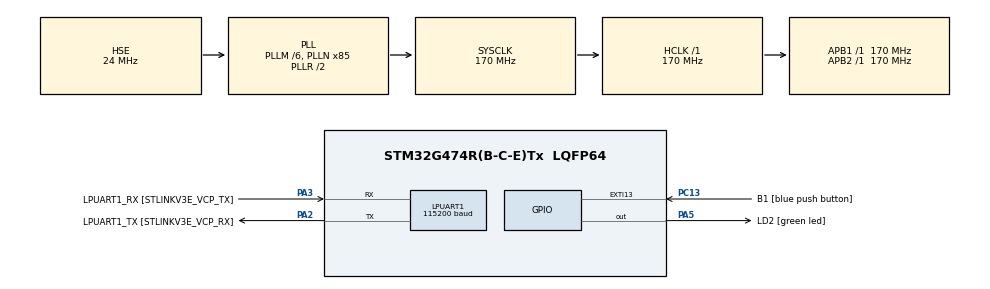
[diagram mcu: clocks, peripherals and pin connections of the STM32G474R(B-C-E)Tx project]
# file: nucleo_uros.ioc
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Dma.LPUART1_RX.0.Direction=DMA_PERIPH_TO_MEMORY
Dma.LPUART1_RX.0.EventEnable=DISABLE
Dma.LPUART1_RX.0.Instance=DMA1_Channel1
Dma.LPUART1_RX.0.MemDataAlignment=DMA_MDATAALIGN_BYTE
Dma.LPUART1_RX.0.MemInc=DMA_MINC_ENABLE
Dma.LPUART1_RX.0.Mode=DMA_CIRCULAR
Dma.LPUART1_RX.0.PeriphDataAlignment=DMA_PDATAALIGN_BYTE
Dma.LPUART1_RX.0.PeriphInc=DMA_PINC_DISABLE
Dma.LPUART1_RX.0.Polarity=HAL_DMAMUX_REQ_GEN_RISING
Dma.LPUART1_RX.0.Priority=DMA_PRIORITY_VERY_HIGH
Dma.LPUART1_RX.0.RequestNumber=1
Dma.LPUART1_RX.0.SignalID=NONE
Dma.LPUART1_RX.0.SyncEnable=DISABLE
Dma.LPUART1_RX.0.SyncPolarity=HAL_DMAMUX_SYNC_NO_EVENT
Dma.LPUART1_RX.0.SyncRequestNumber=1
Dma.LPUART1_RX.0.SyncSignalID=NONE
Dma.LPUART1_TX.1.Direction=DMA_MEMORY_TO_PERIPH
Dma.LPUART1_TX.1.EventEnable=DISABLE
Dma.LPUART1_TX.1.Instance=DMA1_Channel2
Dma.LPUART1_TX.1.MemDataAlignment=DMA_MDATAALIGN_BYTE
Dma.LPUART1_TX.1.MemInc=DMA_MINC_ENABLE
Dma.LPUART1_TX.1.Mode=DMA_NORMAL
Dma.LPUART1_TX.1.PeriphDataAlignment=DMA_PDATAALIGN_BYTE
Dma.LPUART1_TX.1.PeriphInc=DMA_PINC_DISABLE
Dma.LPUART1_TX.1.Polarity=HAL_DMAMUX_REQ_GEN_RISING
Dma.LPUART1_TX.1.Priority=DMA_PRIORITY_VERY_HIGH
Dma.LPUART1_TX.1.RequestNumber=1
Dma.LPUART1_TX.1.SignalID=NONE
Dma.LPUART1_TX.1.SyncEnable=DISABLE
Dma.LPUART1_TX.1.SyncPolarity=HAL_DMAMUX_SYNC_NO_EVENT
Dma.LPUART1_TX.1.SyncRequestNumber=1
Dma.LPUART1_TX.1.SyncSignalID=NONE
Dma.Request0=LPUART1_RX
Dma.Request1=LPUART1_TX
FREERTOS.Tasks01=defaultTask,24,3000,StartDefaultTask,As weak,NULL,Static,defaultTaskBuffer,defaultTaskControlBlock
FREERTOS.configENABLE_FPU=1
LPUART1.BaudRate=115200
Mcu.Family=STM32G4
Mcu.Name=STM32G474R(B-C-E)Tx
Mcu.Package=LQFP64
NVIC.DMA1_Channel1_IRQn=true\:5\:0\:false\:false\:true\:true\:false\:true\:true
NVIC.DMA1_Channel2_IRQn=true\:5\:0\:false\:false\:true\:true\:false\:true\:true
NVIC.EXTI15_10_IRQn=true\:5\:0\:false\:false\:true\:true\:true\:true\:true
NVIC.LPUART1_IRQn=true\:5\:0\:false\:false\:true\:true\:true\:true\:true
NVIC.PriorityGroup=NVIC_PRIORITYGROUP_4
NVIC.TIM1_UP_TIM16_IRQn=true\:15\:0\:false\:false\:true\:false\:false\:true\:true
NVIC.TimeBase=TIM1_UP_TIM16_IRQn
NVIC.TimeBaseIP=TIM1
PA13.GPIO_Label=T_SWDIO
PA13.Signal=SYS_JTMS-SWDIO
PA14.GPIO_Label=T_SWCLK
PA14.Signal=SYS_JTCK-SWCLK
PA2.GPIO_Label=LPUART1_TX [STLINKV3E_VCP_RX]
PA2.Mode=Asynchronous
PA2.Signal=LPUART1_TX
PA3.GPIO_Label=LPUART1_RX [STLINKV3E_VCP_TX]
PA3.Mode=Asynchronous
PA3.Signal=LPUART1_RX
PA5.GPIO_Label=LD2 [green led]
PA5.Signal=GPIO_Output
PB3.GPIO_Label=T_SWO
PB3.Signal=SYS_JTDO-SWO
PC13.GPIO_Label=B1 [blue push button]
PC13.Signal=GPXTI13
PC14-OSC32_IN.GPIO_Label=RCC_OSC32_IN
PC14-OSC32_IN.Signal=RCC_OSC32_IN
PC15-OSC32_OUT.GPIO_Label=RCC_OSC32_OUT
PC15-OSC32_OUT.Signal=RCC_OSC32_OUT
PF0-OSC_IN.GPIO_Label=RCC_OSC_IN
PF0-OSC_IN.Mode=HSE-External-Oscillator
PF0-OSC_IN.Signal=RCC_OSC_IN
PF1-OSC_OUT.GPIO_Label=RCC_OSC_OUT
PF1-OSC_OUT.Mode=HSE-External-Oscillator
PF1-OSC_OUT.Signal=RCC_OSC_OUT
ProjectManager.HeapSize=0x200
ProjectManager.StackSize=0x400
ProjectManager.TargetToolchain=STM32CubeIDE
RCC.ADC12Freq_Value=170000000
RCC.ADC345Freq_Value=170000000
RCC.AHBFreq_Value=170000000
RCC.APB1Freq_Value=170000000
RCC.APB1TimFreq_Value=170000000
RCC.APB2Freq_Value=170000000
RCC.APB2TimFreq_Value=170000000
RCC.CortexFreq_Value=170000000
RCC.EXTERNAL_CLOCK_VALUE=12288000
RCC.HCLKFreq_Value=170000000
RCC.HSE_VALUE=24000000
RCC.HSI48_VALUE=48000000
RCC.HSI_VALUE=16000000
RCC.LSE_VALUE=32768
RCC.PLLM=RCC_PLLM_DIV6
RCC.PLLN=85
RCC.PLLSourceVirtual=RCC_PLLSOURCE_HSE
RCC.RTCClockSelection=RCC_RTCCLKSOURCE_LSE
RCC.SYSCLKFreq_VALUE=170000000
RCC.SYSCLKSource=RCC_SYSCLKSOURCE_PLLCLK
RCC.USBFreq_Value=170000000
RCC.VCOOutputFreq_Value=340000000
VP_FREERTOS_VS_CMSIS_V2.Mode=CMSIS_V2
VP_SYS_VS_DBSignals.Mode=DisableDeadBatterySignals
VP_SYS_VS_tim1.Mode=TIM1
board=NUCLEO-G474RE

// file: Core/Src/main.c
/* USER CODE BEGIN Header */
/**
  ******************************************************************************
  * @file           : main.c
  * @brief          : Main program body
  ******************************************************************************
  * @attention
  *
  * Copyright (c) 2024 STMicroelectronics.
  * All rights reserved.
  *
  * This software is licensed under terms that can be found in the LICENSE file
  * in the root directory of this software component.
  * If no LICENSE file comes with this software, it is provided AS-IS.
  *
  ******************************************************************************
  */
/* USER CODE END Header */
#include "main.h"
#include "cmsis_os.h"
#include "dma.h"
#include "usart.h"
#include "gpio.h"

/* USER CODE BEGIN Includes */
//#include <rcl/rcl.h>
//#include <rcl/error_handling.h>
//#include <rclc/rclc.h>
//#include <rclc/executor.h>
//#include <uxr/client/transport.h>
//#include <rmw_microxrcedds_c/config.h>
//#include <rmw_microros/rmw_microros.h>
//
//#include <std_msgs/msg/int32.h>
/* USER CODE END Includes */

/* USER CODE BEGIN PM */
//#define RCSOFTCHECK(fn) if (fn != RCL_RET_OK) {}
/* USER CODE END PM */

/* USER CODE BEGIN PV */
//bool cubemx_transport_open(struct uxrCustomTransport * transport);
//bool cubemx_transport_close(struct uxrCustomTransport * transport);
//size_t cubemx_transport_write(struct uxrCustomTransport* transport, const uint8_t * buf, size_t len, uint8_t * err);
//size_t cubemx_transport_read(struct uxrCustomTransport* transport, uint8_t* buf, size_t len, int timeout, uint8_t* err);
//rcl_init_options_t init_options;
//rcl_publisher_t publisher;
//std_msgs__msg__Int32 msg;
//rclc_support_t support;
//rcl_allocator_t allocator;
//rcl_node_t node;
//
//void * microros_allocate(size_t size, void * state);
//void microros_deallocate(void * pointer, void * state);
//void * microros_reallocate(void * pointer, size_t size, void * state);
//void * microros_zero_allocate(size_t number_of_elements, size_t size_of_element, void * state);
/* USER CODE END PV */

void SystemClock_Config(void);
void MX_FREERTOS_Init(void);

/* USER CODE BEGIN 0 */
//void StartDefaultTask(void *argument)
//{
//    /* USER CODE BEGIN StartDefaultTask */
//    /* Infinite loop */
//    // micro-ROS configuration
//
//    rmw_uros_set_custom_transport(
//      true,
//      (void *) &hlpuart1,
//      cubemx_transport_open,
//      cubemx_transport_close,
//      cubemx_transport_write,
//      cubemx_transport_read);
//
//    rcl_allocator_t freeRTOS_allocator = rcutils_get_zero_initialized_allocator();
//    freeRTOS_allocator.allocate = microros_allocate;
//    freeRTOS_allocator.deallocate = microros_deallocate;
//    freeRTOS_allocator.reallocate = microros_reallocate;
//    freeRTOS_allocator.zero_allocate =  microros_zero_allocate;
//
//    if (!rcutils_set_default_allocator(&freeRTOS_allocator)) {
//        printf("Error on default allocators (line %d)\n", __LINE__);
//    }
//
//    // micro-ROS app
//    allocator = rcl_get_default_allocator();
//
//    // Initialize and modify options (Set DOMAIN ID to 73)
//    init_options = rcl_get_zero_initialized_init_options();
//    RCSOFTCHECK(rcl_init_options_init(&init_options, allocator));
//    RCSOFTCHECK(rcl_init_options_set_domain_id(&init_options, 10));
//
//    //create init_options
//    RCSOFTCHECK(rclc_support_init_with_options(&support, 0, NULL, &init_options, &allocator));
//
//    // create node
//    rclc_node_init_default(&node, "eiei_node", "", &support);
//    // create publisher
//    rclc_publisher_init_default(
//      &publisher,
//      &node,
//      ROSIDL_GET_MSG_TYPE_SUPPORT(std_msgs, msg, Int32),
//      "cubemx_publisher");
//
//    msg.data = 0;
//
//	for(;;)
//	{
//    	rcl_ret_t ret = rcl_publish(&publisher, &msg, NULL);
//		if (ret != RCL_RET_OK)
//		{
//		printf("Error publishing (line %d)\n", __LINE__);
//		}
//		msg.data++;
//		osDelay(10);
//    }
//    /* USER CODE END StartDefaultTask */
//}
/* USER CODE END 0 */

int main(void)
{

  /* MCU Configuration--------------------------------------------------------*/

  /* Reset of all peripherals, Initializes the Flash interface and the Systick. */
  HAL_Init();

  /* Configure the system clock */
  SystemClock_Config();

  /* Initialize all configured peripherals */
  MX_GPIO_Init();
  MX_DMA_Init();
  MX_LPUART1_UART_Init();

  /* Init scheduler */
  osKernelInitialize();

  /* Call init function for freertos objects (in cmsis_os2.c) */
  MX_FREERTOS_Init();

  /* Start scheduler */
  osKernelStart();

  /* We should never get here as control is now taken by the scheduler */

  /* Infinite loop */
  while (1)
  {

  }
}

void SystemClock_Config(void)
{
  RCC_OscInitTypeDef RCC_OscInitStruct = {0};
  RCC_ClkInitTypeDef RCC_ClkInitStruct = {0};

  /** Configure the main internal regulator output voltage
  */
  HAL_PWREx_ControlVoltageScaling(PWR_REGULATOR_VOLTAGE_SCALE1_BOOST);

  /** Initializes the RCC Oscillators according to the specified parameters
  * in the RCC_OscInitTypeDef structure.
  */
  RCC_OscInitStruct.OscillatorType = RCC_OSCILLATORTYPE_HSE;
  RCC_OscInitStruct.HSEState = RCC_HSE_ON;
  RCC_OscInitStruct.PLL.PLLState = RCC_PLL_ON;
  RCC_OscInitStruct.PLL.PLLSource = RCC_PLLSOURCE_HSE;
  RCC_OscInitStruct.PLL.PLLM = RCC_PLLM_DIV6;
  RCC_OscInitStruct.PLL.PLLN = 85;
  RCC_OscInitStruct.PLL.PLLP = RCC_PLLP_DIV2;
  RCC_OscInitStruct.PLL.PLLQ = RCC_PLLQ_DIV2;
  RCC_OscInitStruct.PLL.PLLR = RCC_PLLR_DIV2;
  if (HAL_RCC_OscConfig(&RCC_OscInitStruct) != HAL_OK)
  {
    Error_Handler();
  }

  /** Initializes the CPU, AHB and APB buses clocks
  */
  RCC_ClkInitStruct.ClockType = RCC_CLOCKTYPE_HCLK|RCC_CLOCKTYPE_SYSCLK
                              |RCC_CLOCKTYPE_PCLK1|RCC_CLOCKTYPE_PCLK2;
  RCC_ClkInitStruct.SYSCLKSource = RCC_SYSCLKSOURCE_PLLCLK;
  RCC_ClkInitStruct.AHBCLKDivider = RCC_SYSCLK_DIV1;
  RCC_ClkInitStruct.APB1CLKDivider = RCC_HCLK_DIV1;
  RCC_ClkInitStruct.APB2CLKDivider = RCC_HCLK_DIV1;

  if (HAL_RCC_ClockConfig(&RCC_ClkInitStruct, FLASH_LATENCY_4) != HAL_OK)
  {
    Error_Handler();
  }
}

void HAL_TIM_PeriodElapsedCallback(TIM_HandleTypeDef *htim)
{
  if (htim->Instance == TIM1) {
    HAL_IncTick();
  }
}

void Error_Handler(void)
{
  __disable_irq();
  while (1)
  {
  }
}

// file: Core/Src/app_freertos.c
/* USER CODE BEGIN Header */
/**
  ******************************************************************************
  * File Name          : app_freertos.c
  * Description        : Code for freertos applications
  ******************************************************************************
  * @attention
  *
  * Copyright (c) 2024 STMicroelectronics.
  * All rights reserved.
  *
  * This software is licensed under terms that can be found in the LICENSE file
  * in the root directory of this software component.
  * If no LICENSE file comes with this software, it is provided AS-IS.
  *
  ******************************************************************************
  */
/* USER CODE END Header */

#include "FreeRTOS.h"
#include "task.h"
#include "main.h"
#include "cmsis_os.h"

/* USER CODE BEGIN Includes */
#include <rcl/rcl.h>
#include <rcl/error_handling.h>
#include <rclc/rclc.h>
#include <rclc/executor.h>
#include <uxr/client/transport.h>
#include <rmw_microxrcedds_c/config.h>
#include <rmw_microros/rmw_microros.h>

#include <std_msgs/msg/int32.h>

#include "usart.h"
/* USER CODE END Includes */

typedef StaticTask_t osStaticThreadDef_t;

/* USER CODE BEGIN PD */
#define RCSOFTCHECK(fn) if (fn != RCL_RET_OK) {}
/* USER CODE END PD */

/* USER CODE BEGIN Variables */
bool cubemx_transport_open(struct uxrCustomTransport * transport);
bool cubemx_transport_close(struct uxrCustomTransport * transport);
size_t cubemx_transport_write(struct uxrCustomTransport* transport, const uint8_t * buf, size_t len, uint8_t * err);
size_t cubemx_transport_read(struct uxrCustomTransport* transport, uint8_t* buf, size_t len, int timeout, uint8_t* err);
rcl_init_options_t init_options;
rcl_publisher_t publisher;
std_msgs__msg__Int32 msg;
rclc_support_t support;
rcl_allocator_t allocator;
rcl_node_t node;

void * microros_allocate(size_t size, void * state);
void microros_deallocate(void * pointer, void * state);
void * microros_reallocate(void * pointer, size_t size, void * state);
void * microros_zero_allocate(size_t number_of_elements, size_t size_of_element, void * state);
/* USER CODE END Variables */
/* Definitions for defaultTask */
osThreadId_t defaultTaskHandle;
uint32_t defaultTaskBuffer[ 3000 ];
osStaticThreadDef_t defaultTaskControlBlock;
const osThreadAttr_t defaultTask_attributes = {
  .name = "defaultTask",
  .stack_mem = &defaultTaskBuffer[0],
  .stack_size = sizeof(defaultTaskBuffer),
  .cb_mem = &defaultTaskControlBlock,
  .cb_size = sizeof(defaultTaskControlBlock),
  .priority = (osPriority_t) osPriorityNormal,
};

void StartDefaultTask(void *argument);

void MX_FREERTOS_Init(void); /* (MISRA C 2004 rule 8.1) */

void MX_FREERTOS_Init(void) {

  /* Create the thread(s) */
  /* creation of defaultTask */
  defaultTaskHandle = osThreadNew(StartDefaultTask, NULL, &defaultTask_attributes);

}

__weak void StartDefaultTask(void *argument)
{
    /* USER CODE BEGIN StartDefaultTask */
    /* Infinite loop */
    // micro-ROS configuration

    rmw_uros_set_custom_transport(
      true,
      (void *) &hlpuart1,
      cubemx_transport_open,
      cubemx_transport_close,
      cubemx_transport_write,
      cubemx_transport_read);

    rcl_allocator_t freeRTOS_allocator = rcutils_get_zero_initialized_allocator();
    freeRTOS_allocator.allocate = microros_allocate;
    freeRTOS_allocator.deallocate = microros_deallocate;
    freeRTOS_allocator.reallocate = microros_reallocate;
    freeRTOS_allocator.zero_allocate =  microros_zero_allocate;

    if (!rcutils_set_default_allocator(&freeRTOS_allocator)) {
        printf("Error on default allocators (line %d)\n", __LINE__);
    }

    // micro-ROS app
    allocator = rcl_get_default_allocator();

    // Initialize and modify options (Set DOMAIN ID to 73)
    init_options = rcl_get_zero_initialized_init_options();
    RCSOFTCHECK(rcl_init_options_init(&init_options, allocator));
    RCSOFTCHECK(rcl_init_options_set_domain_id(&init_options, 10));

    //create init_options
    RCSOFTCHECK(rclc_support_init_with_options(&support, 0, NULL, &init_options, &allocator));

    // create node
    rclc_node_init_default(&node, "eiei_node", "", &support);
    // create publisher
    rclc_publisher_init_default(
      &publisher,
      &node,
      ROSIDL_GET_MSG_TYPE_SUPPORT(std_msgs, msg, Int32),
      "cubemx_publisher");

    msg.data = 0;

	for(;;)
	{
    	rcl_ret_t ret = rcl_publish(&publisher, &msg, NULL);
		if (ret != RCL_RET_OK)
		{
		printf("Error publishing (line %d)\n", __LINE__);
		}
		msg.data++;
		osDelay(10);
    }
    /* USER CODE END StartDefaultTask */
}
